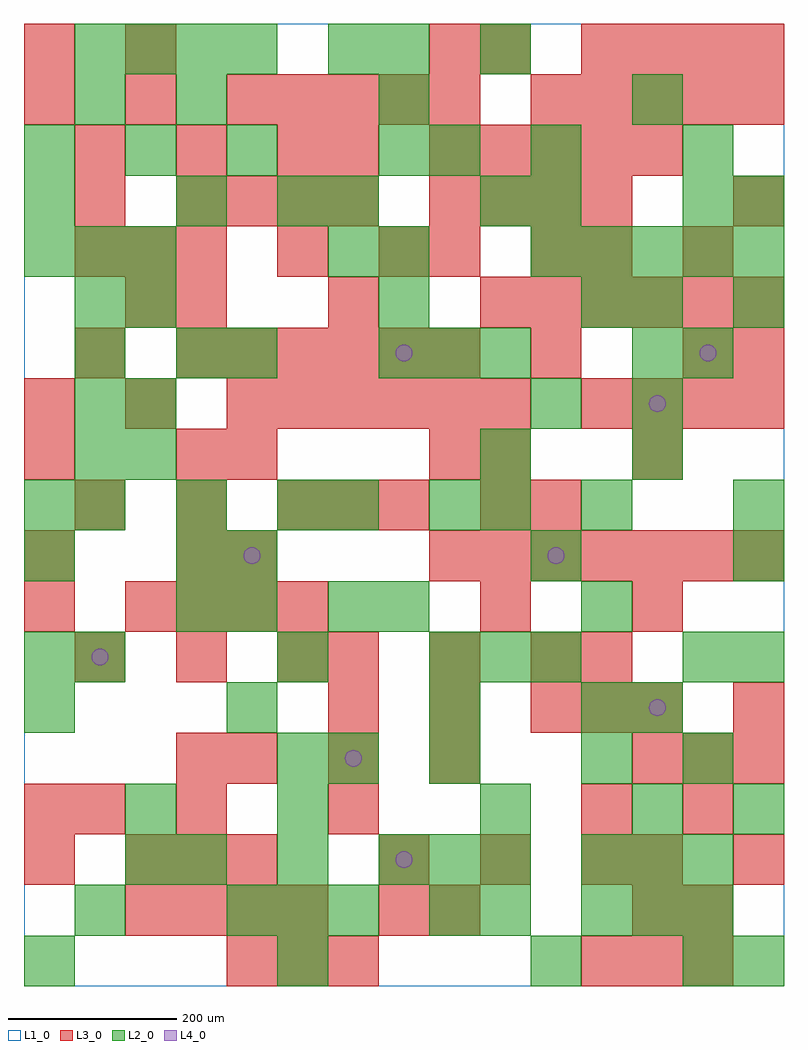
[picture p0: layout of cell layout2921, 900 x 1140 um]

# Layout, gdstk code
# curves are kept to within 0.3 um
import gdstk
lib = gdstk.Library(unit=1e-6, precision=1e-09)
def R(c, l, rs):  # rectangles x0, y0, x1, y1
    for r in rs: c.add(gdstk.rectangle(r[:2], r[2:], *l))
def A(c, l, x, y, w, h, nx, ny, dx, dy):  # array of equal rectangles
    R(c, l, [(x+i*dx, y+j*dy, x+i*dx+w, y+j*dy+h) for i in range(nx) for j in range(ny)])
def P(c, l, *ps):  # polygons
    for p in ps: c.add(gdstk.Polygon(p, *l))
L1_0 = (1, 0)
L2_0 = (2, 0)
L3_0 = (3, 0)
L4_0 = (4, 0)

layout2921 = lib.new_cell('layout2921')
R(layout2921, L1_0, [(0,0,900,1140)])
A(layout2921, L2_0, 0, 0, 60, 60, 3, 1, 300, 0)
A(layout2921, L2_0, 840, 0, 60, 60, 1, 3, 0, 180)
A(layout2921, L2_0, 240, 60, 60, 60, 3, 1, 60, 0)
A(layout2921, L2_0, 540, 60, 60, 60, 1, 3, 0, 60)
A(layout2921, L2_0, 660, 60, 60, 60, 3, 2, 60, 60)
A(layout2921, L2_0, 180, 120, 60, 60, 3, 1, 120, 0)
A(layout2921, L2_0, 0, 300, 60, 60, 3, 1, 240, 0)
A(layout2921, L2_0, 660, 300, 60, 60, 1, 3, 0, 120)
A(layout2921, L2_0, 480, 360, 60, 60, 3, 1, 60, 0)
A(layout2921, L2_0, 60, 540, 60, 60, 3, 1, 120, 0)
A(layout2921, L2_0, 60, 600, 60, 60, 1, 4, 0, 60)
A(layout2921, L2_0, 720, 600, 60, 60, 1, 4, 0, 60)
A(layout2921, L2_0, 420, 720, 60, 60, 3, 1, 60, 0)
A(layout2921, L2_0, 0, 840, 60, 60, 3, 1, 60, 0)
A(layout2921, L2_0, 600, 840, 60, 60, 5, 1, 60, 0)
A(layout2921, L2_0, 0, 960, 60, 60, 3, 1, 120, 0)
A(layout2921, L2_0, 420, 960, 60, 60, 1, 3, 0, 60)
A(layout2921, L2_0, 60, 1080, 60, 60, 4, 1, 60, 0)
R(layout2921, L2_0, [(780,0,840,60), (60,60,120,120), (480,60,540,120), (120,120,180,180), (480,120,540,180), (120,180,180,240), (300,180,360,240), (720,180,780,240), (300,240,360,300), (360,240,420,300), (480,240,540,300), (660,240,720,300), (780,240,840,300), (720,300,780,360), (0,360,60,420), (60,360,120,420), (300,360,360,420), (780,360,840,420), (180,420,240,480), (240,420,300,480), (360,420,420,480), (420,420,480,480), (0,480,60,540), (180,480,240,540), (240,480,300,540), (600,480,660,540), (840,480,900,540), (0,540,60,600), (360,540,420,600), (480,540,540,600), (540,540,600,600), (840,540,900,600), (120,600,180,660), (540,600,600,660), (120,660,180,720), (600,660,660,720), (180,720,240,780), (240,720,300,780), (780,720,840,780), (120,780,180,840), (420,780,480,840), (660,780,720,840), (840,780,900,840), (360,840,420,900), (420,840,480,900), (0,900,60,960), (180,900,240,960), (300,900,360,960), (360,900,420,960), (540,900,600,960), (600,900,660,960), (780,900,840,960), (840,900,900,960), (480,960,540,1020), (600,960,660,1020), (780,960,840,1020), (60,1020,120,1080), (180,1020,240,1080), (720,1020,780,1080), (360,1080,420,1140), (540,1080,600,1140)])
A(layout2921, L3_0, 240, 0, 60, 60, 3, 1, 60, 0)
A(layout2921, L3_0, 660, 0, 60, 60, 3, 1, 60, 0)
A(layout2921, L3_0, 120, 60, 60, 60, 4, 2, 60, 360)
A(layout2921, L3_0, 120, 120, 60, 60, 3, 1, 60, 0)
A(layout2921, L3_0, 420, 120, 60, 60, 3, 1, 120, 0)
A(layout2921, L3_0, 240, 240, 60, 60, 3, 1, 120, 0)
A(layout2921, L3_0, 720, 240, 60, 60, 3, 1, 60, 0)
A(layout2921, L3_0, 360, 300, 60, 60, 3, 2, 120, 60)
A(layout2921, L3_0, 60, 360, 60, 60, 3, 2, 120, 180)
A(layout2921, L3_0, 480, 480, 60, 60, 7, 1, 60, 0)
A(layout2921, L3_0, 480, 600, 60, 60, 1, 3, 0, 240)
A(layout2921, L3_0, 0, 660, 60, 60, 3, 2, 120, 360)
A(layout2921, L3_0, 300, 660, 60, 60, 5, 1, 60, 0)
A(layout2921, L3_0, 660, 660, 60, 60, 4, 2, 60, 420)
A(layout2921, L3_0, 180, 720, 60, 60, 6, 1, 60, 0)
A(layout2921, L3_0, 180, 780, 60, 60, 3, 1, 180, 0)
A(layout2921, L3_0, 600, 780, 60, 60, 5, 2, 60, 240)
A(layout2921, L3_0, 60, 840, 60, 60, 3, 1, 60, 0)
A(layout2921, L3_0, 180, 900, 60, 60, 4, 1, 60, 0)
A(layout2921, L3_0, 480, 900, 60, 60, 4, 1, 60, 0)
A(layout2921, L3_0, 60, 960, 60, 60, 3, 1, 120, 0)
A(layout2921, L3_0, 480, 960, 60, 60, 5, 1, 60, 0)
A(layout2921, L3_0, 300, 1020, 60, 60, 4, 1, 60, 0)
R(layout2921, L3_0, [(420,60,480,120), (480,60,540,120), (720,60,780,120), (780,60,840,120), (0,120,60,180), (720,120,780,180), (840,120,900,180), (0,180,60,240), (60,180,120,240), (180,180,240,240), (360,180,420,240), (660,180,720,240), (780,180,840,240), (180,240,240,300), (660,300,720,360), (720,300,780,360), (840,300,900,360), (660,360,720,420), (0,420,60,480), (540,420,600,480), (720,420,780,480), (0,480,60,540), (180,480,240,540), (240,480,300,540), (360,540,420,600), (420,540,480,600), (540,540,600,600), (600,540,660,600), (0,600,60,660), (180,600,240,660), (240,600,300,660), (540,600,600,660), (720,600,780,660), (60,720,120,780), (600,720,660,780), (780,720,840,780), (840,720,900,780), (120,780,180,840), (300,840,360,900), (420,840,480,900), (600,840,660,900), (660,840,720,900), (780,840,840,900), (60,900,120,960), (840,900,900,960), (360,960,420,1020), (0,1080,60,1140), (120,1080,180,1140), (540,1080,600,1140)])
P(layout2921, L4_0, [(100,390),(99.239,393.827),(97.071,397.071),(93.827,399.239),(90,400),(86.173,399.239),(82.929,397.071),(80.761,393.827),(80,390),(80.761,386.173),(82.929,382.929),(86.173,380.761),(90,380),(93.827,380.761),(97.071,382.929),(99.239,386.173)],
  [(280,510),(279.239,513.827),(277.071,517.071),(273.827,519.239),(270,520),(266.173,519.239),(262.929,517.071),(260.761,513.827),(260,510),(260.761,506.173),(262.929,502.929),(266.173,500.761),(270,500),(273.827,500.761),(277.071,502.929),(279.239,506.173)],
  [(400,270),(399.239,273.827),(397.071,277.071),(393.827,279.239),(390,280),(386.173,279.239),(382.929,277.071),(380.761,273.827),(380,270),(380.761,266.173),(382.929,262.929),(386.173,260.761),(390,260),(393.827,260.761),(397.071,262.929),(399.239,266.173)],
  [(460,150),(459.239,153.827),(457.071,157.071),(453.827,159.239),(450,160),(446.173,159.239),(442.929,157.071),(440.761,153.827),(440,150),(440.761,146.173),(442.929,142.929),(446.173,140.761),(450,140),(453.827,140.761),(457.071,142.929),(459.239,146.173)],
  [(460,750),(459.239,753.827),(457.071,757.071),(453.827,759.239),(450,760),(446.173,759.239),(442.929,757.071),(440.761,753.827),(440,750),(440.761,746.173),(442.929,742.929),(446.173,740.761),(450,740),(453.827,740.761),(457.071,742.929),(459.239,746.173)],
  [(640,510),(639.239,513.827),(637.071,517.071),(633.827,519.239),(630,520),(626.173,519.239),(622.929,517.071),(620.761,513.827),(620,510),(620.761,506.173),(622.929,502.929),(626.173,500.761),(630,500),(633.827,500.761),(637.071,502.929),(639.239,506.173)],
  [(760,330),(759.239,333.827),(757.071,337.071),(753.827,339.239),(750,340),(746.173,339.239),(742.929,337.071),(740.761,333.827),(740,330),(740.761,326.173),(742.929,322.929),(746.173,320.761),(750,320),(753.827,320.761),(757.071,322.929),(759.239,326.173)],
  [(760,690),(759.239,693.827),(757.071,697.071),(753.827,699.239),(750,700),(746.173,699.239),(742.929,697.071),(740.761,693.827),(740,690),(740.761,686.173),(742.929,682.929),(746.173,680.761),(750,680),(753.827,680.761),(757.071,682.929),(759.239,686.173)],
  [(820,750),(819.239,753.827),(817.071,757.071),(813.827,759.239),(810,760),(806.173,759.239),(802.929,757.071),(800.761,753.827),(800,750),(800.761,746.173),(802.929,742.929),(806.173,740.761),(810,740),(813.827,740.761),(817.071,742.929),(819.239,746.173)])

lib.write_gds('layout2921.gds')
